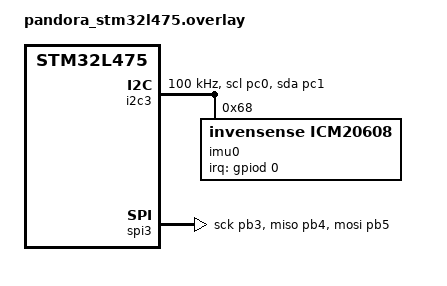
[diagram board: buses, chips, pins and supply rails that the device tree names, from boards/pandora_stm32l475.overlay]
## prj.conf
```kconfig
# CONFIG_INIT_STACKS is not set
CONFIG_HW_STACK_PROTECTION=y
CONFIG_GPIO=y
CONFIG_LOG=y
CONFIG_CONSOLE=y
CONFIG_ARM_MPU=y
# CONFIG_THREAD_MONITOR is not set
# CONFIG_THREAD_NAME is not set
# CONFIG_DEVICE_DT_METADATA is not set
CONFIG_UART_CONSOLE=y
CONFIG_GPIO_SHELL=y
CONFIG_I2C_SHELL=y
CONFIG_SENSOR=y
CONFIG_SENSOR_SHELL=y
CONFIG_SHELL=y
```

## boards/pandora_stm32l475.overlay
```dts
&i2c3 {
	compatible = "st,stm32-i2c-v2";
	pinctrl-0 = <&i2c3_scl_pc0 &i2c3_sda_pc1>;
	pinctrl-names = "default";
	clock-frequency = <I2C_BITRATE_STANDARD>;
	status = "okay";

	imu0: icm20608@68 {
		compatible = "invensense,icm20608";
		reg = <0x68>;
		status = "okay";
		irq-gpios = <&gpiod 0 GPIO_ACTIVE_HIGH>;
		gyro-sr-div = <0>;
		gyro-fs = <500>;
		gyro-dlpf = <176>;
		accel-fs = <2>;
		accel-dlpf = "218.1";
	};
};

&spi3 {
	status = "okay";

	pinctrl-0 = <&spi3_sck_pb3 &spi3_miso_pb4 &spi3_mosi_pb5>;
	pinctrl-names = "default";

	cs-gpios = <&gpiod 7 GPIO_ACTIVE_LOW>;
};
```

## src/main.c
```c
/*
 * Copyright (c) 2012-2014 Wind River Systems, Inc.
 *
 * SPDX-License-Identifier: Apache-2.0
 */

#include <stdio.h>
#include <math.h>

#include <zephyr/kernel.h>
#include <zephyr/device.h>
#include <zephyr/drivers/sensor.h>

#define M_PI   3.14159265358979323846

// Raw data from the IMU
double accelX = 0, accelY = 0, accelZ = 0;
double gyrX = 0, gyrY = 0, gyrZ = 0;

// Predicted Orientation (Gyro)
double gx = 0, gy = 0, gz = 0;

// Predicted Orientation (Acc)
double ax = 0, ay = 0;

// Sample Frequency 100 Hz
const int TIME_STEP_MS = 10;

static int process_icm20608(const struct device *dev)
{
    struct sensor_value temperature;
    struct sensor_value accel[3];
    struct sensor_value gyro[3];
    int rc = sensor_sample_fetch(dev);

    if (rc == 0) {
        rc = sensor_channel_get(dev, SENSOR_CHAN_ACCEL_XYZ,
                    accel);
    }
    if (rc == 0) {
        rc = sensor_channel_get(dev, SENSOR_CHAN_GYRO_XYZ,
                    gyro);
    }
    if (rc == 0) {
        rc = sensor_channel_get(dev, SENSOR_CHAN_DIE_TEMP,
                    &temperature);
    }
    if (rc == 0) {

        // printf("[%s]:%g Cel\n"
        //        "  accel %f %f %f m/s/s\n"
        //        "  gyro  %f %f %f rad/s\n",
        //        sensor_value_to_double(&temperature));

        accelX = sensor_value_to_double(&accel[0]);
        accelY = sensor_value_to_double(&accel[1]);
        accelZ = sensor_value_to_double(&accel[2]);

        gyrX = sensor_value_to_double(&gyro[0]);
        gyrY = sensor_value_to_double(&gyro[1]);
        gyrZ = sensor_value_to_double(&gyro[2]);

        // angles based on accelerometer
        ax = atan2(accelY, accelZ) * 180 / M_PI;                                      // roll
        ay = atan2(-accelX, sqrt( pow(accelY, 2) + pow(accelZ, 2))) * 180 / M_PI;    // pitch

        // This is incorrect, many tutorials make this mistake
        // ax = atan2(accelY, sqrt( pow(accelX, 2) + pow(accelZ, 2))) * 180 / M_PI;    // roll

        // angles based on gyro (deg/s)
        gx = gx + gyrX * TIME_STEP_MS / 1000 / M_PI * 180;
        gy = gy + gyrY * TIME_STEP_MS / 1000 / M_PI * 180;
        gz = gz + gyrZ * TIME_STEP_MS / 1000 / M_PI * 180;

        // complementary filter
        gx = gx * 0.96 + ax * 0.04;
        gy = gy * 0.96 + ay * 0.04;

        printf("%g %g %g %g %g %g %.4f %.4f %.4f \n", accelX, accelY, accelZ, gyrX, gyrY, gyrZ, gx, gy, gz);
    } else {
        printf("sample fetch/get failed: %d\n", rc);
    }

    return rc;
}

#ifdef CONFIG_ICM20608_TRIGGER
static struct sensor_trigger trigger;

static void handle_icm20608_drdy(const struct device *dev,
                const struct sensor_trigger *trig)
{
	uint32_t start = k_uptime_get_32();

    int rc = process_icm20608(dev);

    if (rc != 0) {
        printf("cancelling trigger due to failure: %d\n", rc);
        (void)sensor_trigger_set(dev, trig, NULL);
        return;
    }

	while( (k_uptime_get_32() - start) < TIME_STEP_MS );
}
#endif /* CONFIG_ ICM20608_TRIGGER */

int main(void)
{
    printf("Hello World! %s\n", CONFIG_BOARD_TARGET);

    const struct device *const icm20608 = DEVICE_DT_GET_ONE(invensense_icm20608);
    if (!device_is_ready(icm20608)) {
        printf("Device %s is not ready\n", icm20608->name);
        return 0;
    }

#ifdef CONFIG_ICM20608_TRIGGER
    trigger = (struct sensor_trigger) {
        .type = SENSOR_TRIG_DATA_READY,
        .chan = SENSOR_CHAN_ALL,
    };
    if (sensor_trigger_set(icm20608, &trigger,
                   handle_icm20608_drdy) < 0) {
        printf("Cannot configure trigger\n");
        return 0;
    }
    printf("Configured for triggered sampling.\n");
#endif

    while (!IS_ENABLED(CONFIG_ICM20608_TRIGGER)) {
		uint32_t start = k_uptime_get_32();

        int rc = process_icm20608(icm20608);

        if (rc != 0) {
            break;
        }
		while( (k_uptime_get_32() - start) < TIME_STEP_MS );
    }

    return 0;
}
```
